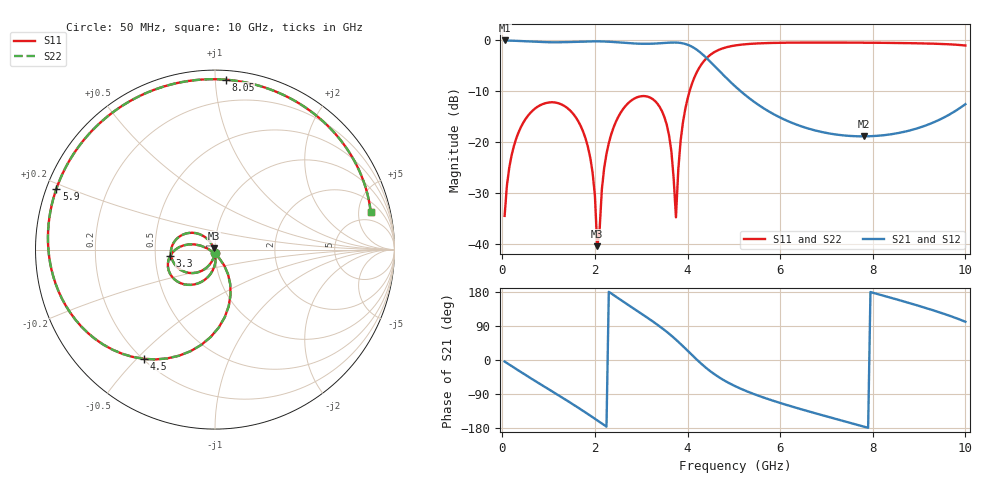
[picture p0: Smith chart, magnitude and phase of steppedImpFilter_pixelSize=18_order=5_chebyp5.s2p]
! freq	dB(S11)	phase(S11)	dB(S12)	phase(S12)
!  dB(S21)	phase(S21)	dB(S22)	phase(S22)
!S-par simulation data
#  GHz  S  DB  R 50
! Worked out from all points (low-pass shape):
!   200 points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, 50 MHz to 10 GHz, reference 50 ohm
!   highest |S21| = -0.01 dB at 50 MHz (marker M1); lowest = -18.8 dB at 7.8 GHz (marker M2)
!   |S21| within 3 dB of the highest: start of sweep to 4.358 GHz
!   lowest |S11| = -40.4 dB at 2.05 GHz (marker M3), VSWR 1.02, Z = 49.3 + j0.626 ohm
!   |S11| at or under -10 dB: start of sweep to 4.044 GHz
!   |S22| runs from -40.5 to -0.4 dB; largest |S21 - S12| = 0
!   S11 on the Smith chart (normalised r, x): 50 MHz: 1.00, -0.04; 3.3 GHz: 0.60, -0.05; 4.5 GHz: 0.20, -0.52; 5.9 GHz: 0.03, +0.18; 8.05 GHz: 0.06, +1.06; 10 GHz: 3.37, +6.85
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0.05  -34.46 -93.9  -0.01 -4.0  -0.01 -4.0  -34.46 -93.9
0.25  -20.76 -110.4  -0.06 -19.9  -0.06 -19.9  -20.76 -110.4
0.6  -14.29 -137.6  -0.22 -47.0  -0.22 -47.0  -14.29 -137.6
1.2  -12.31 177.4  -0.37 -92.1  -0.37 -92.1  -12.31 177.4
1.75  -18.02 136.0  -0.22 -134.7  -0.22 -134.7  -18.02 135.9
1.95  -25.96 122.4  -0.18 -151.0  -0.18 -151.0  -25.96 122.3
2.05  -40.41 138.2  -0.18 -159.2  -0.18 -159.2  -40.45 137.6
2.2  -25.06 -86.4  -0.21 -171.7  -0.21 -171.7  -25.06 -86.3
2.4  -17.16 -100.5  -0.31 171.6  -0.31 171.6  -17.16 -100.5
3.3  -11.92 -171.6  -0.62 97.5  -0.62 97.5  -11.92 -171.6
3.4  -13.08 -179.7  -0.56 88.6  -0.56 88.6  -13.08 -179.7
3.65  -21.69 164.6  -0.42 64.4  -0.42 64.4  -21.69 164.5
3.75  -34.75 -119.1  -0.42 53.7  -0.42 53.7  -34.82 -118.9
3.95  -13.53 -66.2  -0.69 30.7  -0.69 30.7  -13.53 -66.2
4.5  -2.78 -123.1  -4.25 -30.3  -4.25 -30.3  -2.78 -123.1
5.05  -0.96 -162.3  -9.20 -70.3  -9.20 -70.3  -0.96 -162.3
5.9  -0.48 159.1  -14.68 -109.5  -14.68 -109.5  -0.48 159.1
6.7  -0.42 130.9  -17.55 -138.5  -17.55 -138.5  -0.42 130.9
7.8  -0.44 94.7  -18.84 -175.6  -18.84 -175.6  -0.44 94.7
8.05  -0.46 86.4  -18.76 175.9  -18.76 175.9  -0.46 86.4
8.35  -0.48 76.3  -18.49 165.7  -18.49 165.7  -0.48 76.3
10  -0.99 13.5  -12.52 100.9  -12.52 100.9  -0.99 13.5
